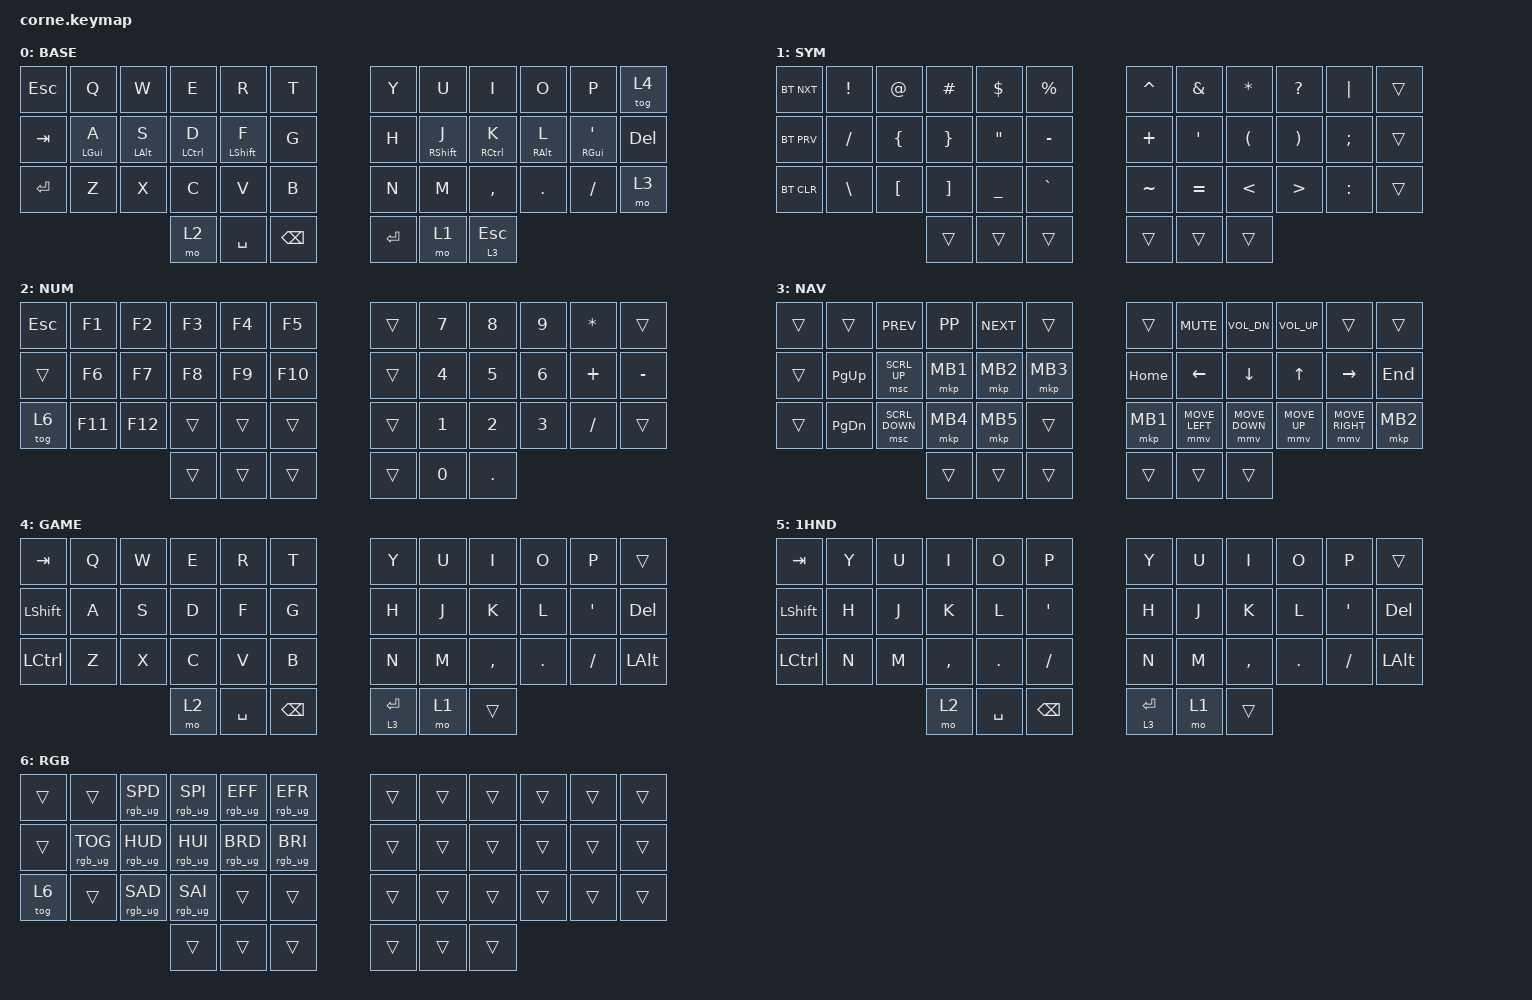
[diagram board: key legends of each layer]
/*
 * Copyright (c) 2020 The ZMK Contributors
 *
 * SPDX-License-Identifier: MIT
 */

#include <behaviors.dtsi>
#include <dt-bindings/zmk/keys.h>
#include <dt-bindings/zmk/bt.h>
#include <dt-bindings/zmk/rgb.h>

#define ZMK_POINTING_DEFAULT_MOVE_VAL 1000  // default: 600
#define ZMK_POINTING_DEFAULT_SCRL_VAL 20    // default: 10

#include <dt-bindings/zmk/pointing.h>

&led_strip { chain-length = <27>; };

&mt {
    flavor = "tap-preferred";
};

&lt {
    flavor = "hold-preferred";
};

/ {
        keymap {
                compatible = "zmk,keymap";

                BASE {
// -----------------------------------------------------------------------------------------
// | ESC |  Q  |  W  |  E  |  R  |  T   |      |  Y  |  U  |  I  |  O  |  P  | GAME |
// | TAB |  A  |  S  |  D  |  F  |  G   |      |  H  |  J  |  K  |  L  |  '  | DEL  |
// | ENT |  Z  |  X  |  C  |  V  |  B   |      |  N  |  M  |  ,  |  .  |  /  | NAV  |
//                   | NUM | SPC | BSPC |      | ENT | SYM | NAV |
                        bindings = <
   &kp ESC   &kp Q       &kp W      &kp E       &kp R       &kp T     &kp Y   &kp U       &kp I       &kp O      &kp P        &tog 4
   &kp TAB   &mt LGUI A  &mt LALT S &mt LCTRL D &mt LSHFT F &kp G     &kp H   &mt RSHFT J &mt RCTRL K &mt RALT L &mt RGUI SQT &kp DEL
   &kp RET   &kp Z       &kp X      &kp C       &kp V       &kp B     &kp N   &kp M       &kp COMMA   &kp DOT    &kp FSLH     &mo 3
                                    &mo 2       &kp SPACE   &kp BSPC  &kp RET &mo 1       &lt 3 ESC
                        >;
                };
                SYM {
// -----------------------------------------------------------------------------------------
// | BT UP |  !  |  @  |  #  |  $  |  %  |      |  ^  |  &  |  *  |  ?  | "|" |    |
// | BT DN |  /  |  {  |  }  |  "  |  -  |      |  +  |  '  |  (  |  )  |  ;  |    |
// | BT CLR|  \  |  [  |  ]  |  _  |  `  |      |  ~  |  =  |  <  |  >  |  :  |    |
//               |     |     |     |     |      |     |     |
                        bindings = <
   &bt BT_NXT  &kp EXCL &kp AT   &kp HASH &kp DLLR  &kp PERCENT     &kp CARET &kp AMPS  &kp ASTRK &kp QMARK &kp PIPE  &trans
   &bt BT_PRV  &kp FSLH &kp LBRC &kp RBRC &kp DQT   &kp MINUS       &kp PLUS  &kp SQT   &kp LPAR  &kp RPAR  &kp SEMI  &trans
   &bt BT_CLR  &kp BSLH &kp LBKT &kp RBKT &kp UNDER &kp GRAVE       &kp TILDE &kp EQUAL &kp LT    &kp GT    &kp COLON &trans
                                 &trans   &trans    &trans          &trans    &trans    &trans
                        >;
                };
                NUM {
// -----------------------------------------------------------------------------------------
// | ESC |  F1 |  F2 |  F3 |  F4 |  F5 |      |   |  7  |  8  |  9  |  *  |     |
// |     |  F6 |  F7 |  F8 |  F9 | F10 |      |   |  4  |  5  |  6  |  +  |  -  |
// | RBG | F11 | F12 |     |     |     |      |   |  1  |  2  |  3  |  /  |     |
//                   |     |     |     |      |   |  0  |  .  |
                        bindings = <
   &kp ESC &kp F1  &kp F2  &kp F3 &kp F4 &kp F5     &trans &kp N7 &kp N8 &kp N9 &kp ASTRK &trans
   &trans  &kp F6  &kp F7  &kp F8 &kp F9 &kp F10    &trans &kp N4 &kp N5 &kp N6 &kp PLUS  &kp MINUS
   &tog 6  &kp F11 &kp F12 &trans &trans &trans     &trans &kp N1 &kp N2 &kp N3 &kp FSLH  &trans
                           &trans &trans &trans     &trans &kp N0 &kp DOT
                        >;
                };
                NAV {
// -----------------------------------------------------------------------------------------
// |   |       |  PRVS   |  PLAY  |  NEXT  |         |      |      |  MUTE  | VL DN | VL UP |        |     |
// |   | PG UP | SCRL UP | MSBTN1 | MSBTN2 | MDL CLK |      | HOME |  LEFT  | DOWN  |   UP  | RIGHT  | END |
// |   | PG DN | SCRL DN | MS BCK | MS FRWD|         |      | MB1  | MS LFT | MS DN | MS UP | MS RGT | MB2 |
//                       |        |        |         |      |      |        |       |
                        bindings = <
   &trans &trans    &kp K_PREV     &kp K_PP   &kp K_NEXT &trans     &trans   &kp K_MUTE     &kp K_VOL_DN   &kp K_VOL_UP &trans          &trans
   &trans &kp PG_UP &msc SCRL_UP   &mkp MB1   &mkp MB2   &mkp MB3   &kp HOME &kp LEFT       &kp DOWN       &kp UP       &kp RIGHT       &kp END
   &trans &kp PG_DN &msc SCRL_DOWN &mkp MB4   &mkp MB5   &trans     &mkp MB1 &mmv MOVE_LEFT &mmv MOVE_DOWN &mmv MOVE_UP &mmv MOVE_RIGHT &mkp MB2
                                   &trans     &trans     &trans     &trans   &trans         &trans
                        >;
                };
                GAME {
// -----------------------------------------------------------------------------------------
// | TAB  |  Q  |  W  |  E  |  R  |  T   |      |  Y  |  U  |  I  |  O  |  P  | GAME |
// | SHFT |  A  |  S  |  D  |  F  |  G   |      |  H  |  J  |  K  |  L  |  '  | DEL  |
// | CTRL |  Z  |  X  |  C  |  V  |  B   |      |  N  |  M  |  ,  |  .  |  /  | ALT  |
//                    | NUM | SPC | BSPC |      | ENT | SYM | NAV |
                        bindings = <
   &kp TAB   &kp Q &kp W &kp E &kp R     &kp T     &kp Y     &kp U  &kp I     &kp O   &kp P    &trans
   &kp LSHFT &kp A &kp S &kp D &kp F     &kp G     &kp H     &kp J  &kp K     &kp L   &kp SQT  &kp DEL
   &kp LCTRL &kp Z &kp X &kp C &kp V     &kp B     &kp N     &kp M  &kp COMMA &kp DOT &kp FSLH &kp LALT
                         &mo 2 &kp SPACE &kp BSPC  &lt 3 RET &mo 1  &trans
                        >;
                };
                1HND {
// -----------------------------------------------------------------------------------------
// | TAB  |  Y  |  U  |  I  |  O  |  P  |      |  Y  |  U  |  I  |  O  |  P  | GAME |
// | SHFT |  H  |  J  |  K  |  L  |  '  |      |  H  |  J  |  K  |  L  |  '  | DEL  |
// | CTRL |  N  |  M  |  ,  |  .  |  /  |      |  N  |  M  |  ,  |  .  |  /  | ALT  |
//                    | NUM | SPC | BSPC|      | ENT | SYM | NAV |
                        bindings = <
   &kp TAB   &kp Y &kp U &kp I     &kp O   &kp P     &kp Y     &kp U     &kp I     &kp O   &kp P    &trans
   &kp LSHFT &kp H &kp J &kp K     &kp L   &kp SQT   &kp H     &kp J     &kp K     &kp L   &kp SQT  &kp DEL
   &kp LCTRL &kp N &kp M &kp COMMA &kp DOT &kp FSLH  &kp N     &kp M     &kp COMMA &kp DOT &kp FSLH &kp LALT
                                   &mo 2   &kp SPC   &kp BSPC  &lt 3 RET &mo 1     &trans
                        >;      
                };
                RGB {
// -----------------------------------------------------------------------------------------
// |   |     | SPD | SPI | EFF | EFR |      |    |    |    |    |    |   |
// |   | TOG | HUD | HUI | BRD | BRI |      |    |    |    |    |    |   |
// |   |     | SAD | SAI |     |     |      |    |    |    |    |    |   |
//                 |     |     |     |      |    |    |    |
                        bindings = <
   &trans &trans          &rgb_ug RGB_SPD &rgb_ug RGB_SPI &rgb_ug RGB_EFF &rgb_ug RGB_EFR    &trans &trans &trans &trans &trans &trans 
   &trans &rgb_ug RGB_TOG &rgb_ug RGB_HUD &rgb_ug RGB_HUI &rgb_ug RGB_BRD &rgb_ug RGB_BRI    &trans &trans &trans &trans &trans &trans 
   &tog 6 &trans          &rgb_ug RGB_SAD &rgb_ug RGB_SAI &trans          &trans             &trans &trans &trans &trans &trans &trans 
                                          &trans          &trans          &trans             &trans &trans &trans 
                        >;                         
                };
        };
};
